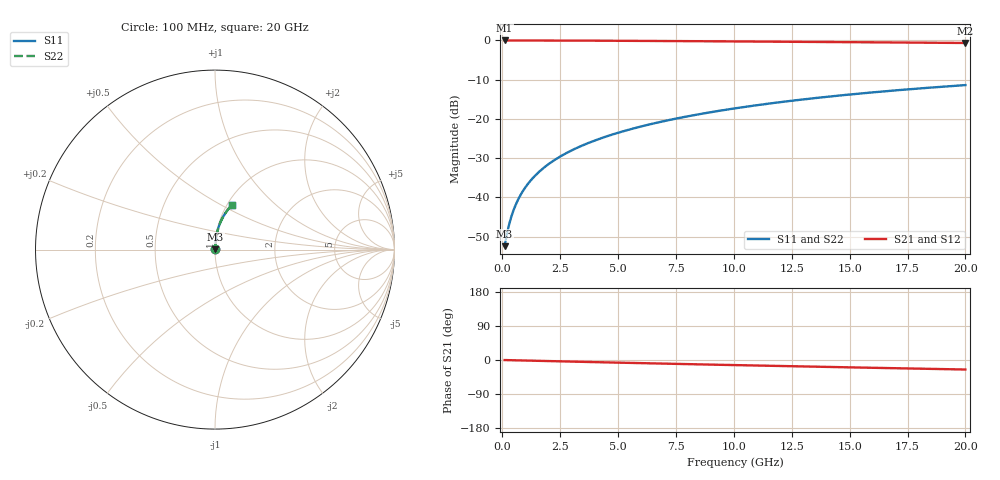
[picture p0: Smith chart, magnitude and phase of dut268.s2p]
! Touchstone file exported from HFSS 2024.1.0
!  File:  C:/UserFiles/LocalFiles/RDL_TSV_Batchsim/temp_RDL_bottom_268_1778702438.aedt
!  Generated:  04:03:00 AM May 14, 2026
!  Design:  RDL_bottom
!  Project:  temp_RDL_bottom_268_1778702438
!  Setup:  Setup1
!  Solution:  Sweep
! Variables:
!  dtsv = 10.80580581um
!  hbump = 3um
!  htsv = 65.79um
!  ldown = 339.72um
!  lrdl = 100um
!  p = 40
!  p1 = 42.3um
!  rhole = 1um
!  t = 450um
!  tdown = 4.09um
!  trdl = 3.915915916um
!  wdown = 16.57um
!  wrdl = 20um
# GHz S MA R 50.000000
! Terminal data exported
! Port[1] = RDL1_T1
! Port[2] = RDL1_T2
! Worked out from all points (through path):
!   200 points, 100 MHz to 20 GHz, reference 50 ohm
!   highest |S21| = -0.02 dB at 100 MHz (marker M1); lowest = -0.7 dB at 20 GHz (marker M2)
!   group delay of S21, straight-line fit = 3.47 ps
!   lowest |S11| = -52.5 dB at 100 MHz (marker M3), VSWR 1.00, Z = 50.2 + j0.142 ohm
!   |S11| at or under -10 dB: start of sweep to end of sweep
!   |S22| runs from -52.5 to -11.4 dB; largest |S21 - S12| = 4.4e-15
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0.1  0.002383 36.3  0.9981 -0.1  0.9981 -0.1  0.002383 36.3
! Gamma 0 0 0 0
! Port Impedance 50 0 50 0
0.2  0.003411 54.2  0.998 -0.3  0.998 -0.3  0.003411 54.2
0.3  0.004575 63.3  0.9979 -0.4  0.9979 -0.4  0.004575 63.3
0.4  0.005789 68.7  0.9978 -0.6  0.9978 -0.6  0.005789 68.7
0.5  0.007032 72.2  0.9977 -0.7  0.9977 -0.7  0.007032 72.2
0.6  0.008294 74.8  0.9977 -0.9  0.9977 -0.9  0.008294 74.8
0.8  0.01085 78.0  0.9975 -1.2  0.9975 -1.2  0.01085 78.0
1.1  0.01474 80.7  0.9972 -1.6  0.9972 -1.6  0.01474 80.7
1.5  0.01996 82.6  0.9968 -2.1  0.9968 -2.1  0.01996 82.6
1.8  0.02389 83.4  0.9964 -2.6  0.9964 -2.6  0.02389 83.4
2.1  0.02782 83.9  0.9959 -3.0  0.9959 -3.0  0.02782 83.9
2.7  0.03572 84.4  0.9948 -3.8  0.9948 -3.8  0.03572 84.4
3.5  0.04632 84.7  0.993 -4.9  0.993 -4.9  0.04632 84.7
4.2  0.05567 84.6  0.9912 -5.9  0.9912 -5.9  0.05567 84.6
5  0.06645 84.3  0.9888 -7.0  0.9888 -7.0  0.06645 84.3
5.9  0.07868 83.8  0.9858 -8.2  0.9858 -8.2  0.07868 83.8
6.8  0.09102 83.2  0.9827 -9.4  0.9827 -9.4  0.09102 83.2
8.4  0.1132 81.9  0.9767 -11.4  0.9767 -11.4  0.1132 81.9
10.1  0.1368 80.2  0.97 -13.5  0.97 -13.5  0.1368 80.2
13.4  0.1825 76.6  0.9563 -17.5  0.9563 -17.5  0.1825 76.6
16.7  0.2268 72.7  0.9419 -21.4  0.9419 -21.4  0.2269 72.7
20  0.2692 68.9  0.9269 -25.1  0.9269 -25.1  0.2692 68.9
